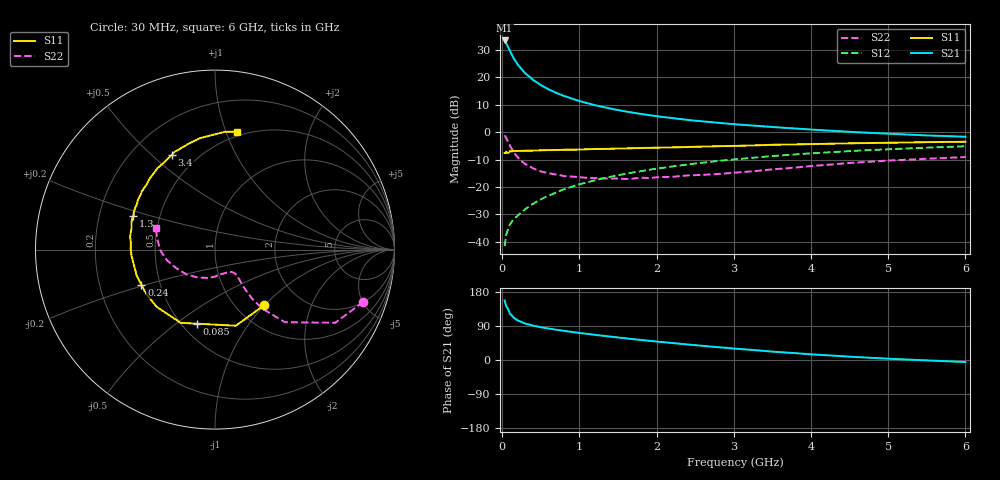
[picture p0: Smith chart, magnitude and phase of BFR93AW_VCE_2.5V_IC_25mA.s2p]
! Infineon Technologies  Discrete & RF Semiconductors
! BFR93AW
! VCE =  2.5 V,  IC =  25 mA
! Common Emitter S-Parameters:  Nov 2015
# GHz  S  MA  R  50
!  f  S11  S21  S12  S22
! GHz  MAG  ANG  MAG  ANG  MAG  ANG  MAG  ANG
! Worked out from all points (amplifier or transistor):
!   206 points, 30 MHz to 6 GHz, reference 50 ohm
!   highest |S21| = 33.5 dB at 30 MHz (marker M1)
!   |S21| within 3 dB of that: start of sweep to 83.96 MHz
!   unconditionally stable (mu >= 1): 480.2 MHz to 2.297 GHz
!   at 200 MHz: K = 0.78, MSG = 27.6 dB, |S12| = -30.5 dB
!   at 1.56 GHz: K = 1.05, MAG = 10.3 dB, |S12| = -15.4 dB
!   at 6 GHz: K = 0.93, MSG = 1.7 dB, |S12| = -5.1 dB
!   S11 on the Smith chart (normalised r, x): 30 MHz: 1.33, -1.00; 85 MHz: 0.59, -0.60; 240 MHz: 0.39, -0.19; 1.3 GHz: 0.35, +0.18; 3.4 GHz: 0.36, +0.58; 6 GHz: 0.46, +1.09
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0.03  0.4139 -48.4  47.12 156.9  0.0083 74.5  0.8762 -19.4
0.05  0.4398 -74.7  42.46 142.4  0.0133 67.4  0.7844 -31.3
0.085  0.4246 -103.5  33.11 129.6  0.0186 62.0  0.6233 -40.6
0.1  0.4506 -115.1  29.84 121.8  0.0209 60.6  0.5613 -46.1
0.15  0.4556 -135.7  21.85 111.0  0.0257 60.0  0.4235 -51.2
0.2  0.4555 -147.4  17.1 104.2  0.03 61.9  0.3456 -52.9
0.24  0.4546 -154.4  14.56 100.6  0.0337 63.3  0.3032 -53.0
0.3  0.4599 -161.5  11.74 96.0  0.0394 64.7  0.261 -52.6
0.4  0.4601 -170.2  8.922 90.7  0.0494 68.1  0.2176 -50.8
0.5  0.4669 -176.2  7.212 86.4  0.0595 69.8  0.1917 -50.2
0.6  0.4695 179.6  6.038 83.0  0.0693 70.4  0.1778 -49.7
0.7  0.4705 175.2  5.211 79.7  0.0797 70.8  0.1682 -50.6
0.9  0.4785 168.4  4.083 74.1  0.101 70.9  0.1547 -53.6
1.04  0.4835 164.2  3.562 70.4  0.1157 70.4  0.1486 -57.2
1.3  0.4919 157.4  2.886 64.0  0.143 69.0  0.1434 -63.5
1.6  0.5029 150.0  2.382 57.1  0.1738 67.0  0.1396 -74.5
2.02  0.5215 140.8  1.937 48.2  0.2177 63.5  0.151 -90.4
3.1  0.5643 119.7  1.364 28.8  0.3267 52.9  0.1858 -124.7
3.4  0.5814 114.4  1.27 23.9  0.3564 49.7  0.2026 -135.1
4.1  0.6095 103.1  1.093 13.8  0.4188 42.1  0.2462 -157.7
5.1  0.6427 89.9  0.924 2.5  0.4945 31.1  0.3073 178.7
6  0.6678 79.6  0.825 -5.4  0.5536 21.8  0.3518 159.6
